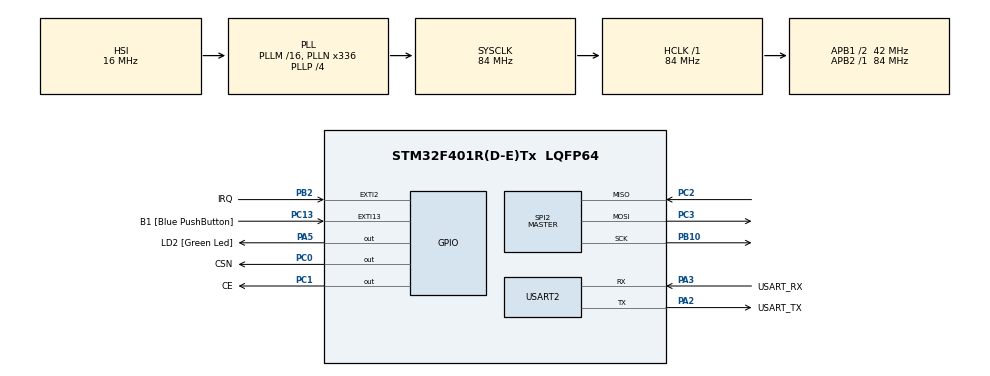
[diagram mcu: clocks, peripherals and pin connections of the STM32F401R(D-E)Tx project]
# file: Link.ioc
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Mcu.Family=STM32F4
Mcu.Name=STM32F401R(D-E)Tx
Mcu.Package=LQFP64
NVIC.PriorityGroup=NVIC_PRIORITYGROUP_0
PA13.GPIO_Label=TMS
PA13.Mode=Serial_Wire
PA13.Signal=SYS_JTMS-SWDIO
PA14.GPIO_Label=TCK
PA14.Mode=Serial_Wire
PA14.Signal=SYS_JTCK-SWCLK
PA2.GPIO_Label=USART_TX
PA2.GPIO_Mode=GPIO_MODE_AF_PP
PA2.GPIO_PuPd=GPIO_NOPULL
PA2.GPIO_Speed=GPIO_SPEED_FREQ_LOW
PA2.Mode=Asynchronous
PA2.Signal=USART2_TX
PA3.GPIO_Label=USART_RX
PA3.GPIO_Mode=GPIO_MODE_AF_PP
PA3.GPIO_PuPd=GPIO_NOPULL
PA3.GPIO_Speed=GPIO_SPEED_FREQ_LOW
PA3.Mode=Asynchronous
PA3.Signal=USART2_RX
PA5.GPIO_Label=LD2 [Green Led]
PA5.GPIO_Mode=GPIO_MODE_OUTPUT_PP
PA5.GPIO_PuPd=GPIO_NOPULL
PA5.GPIO_Speed=GPIO_SPEED_FREQ_LOW
PA5.Signal=GPIO_Output
PB10.Mode=Full_Duplex_Master
PB10.Signal=SPI2_SCK
PB2.GPIO_Label=IRQ
PB2.GPIO_ModeDefaultEXTI=GPIO_MODE_IT_FALLING
PB2.Signal=GPXTI2
PB3.GPIO_Label=SWO
PB3.Signal=SYS_JTDO-SWO
PC0.GPIO_Label=CSN
PC0.GPIO_Speed=GPIO_SPEED_FREQ_MEDIUM
PC0.Signal=GPIO_Output
PC1.GPIO_Label=CE
PC1.GPIO_Speed=GPIO_SPEED_FREQ_MEDIUM
PC1.Signal=GPIO_Output
PC13-ANTI_TAMP.GPIO_Label=B1 [Blue PushButton]
PC13-ANTI_TAMP.GPIO_ModeDefaultEXTI=GPIO_MODE_IT_FALLING
PC13-ANTI_TAMP.GPIO_PuPd=GPIO_NOPULL
PC13-ANTI_TAMP.Signal=GPXTI13
PC14-OSC32_IN.Mode=LSE-External-Oscillator
PC14-OSC32_IN.Signal=RCC_OSC32_IN
PC15-OSC32_OUT.Mode=LSE-External-Oscillator
PC15-OSC32_OUT.Signal=RCC_OSC32_OUT
PC2.Mode=Full_Duplex_Master
PC2.Signal=SPI2_MISO
PC3.Mode=Full_Duplex_Master
PC3.Signal=SPI2_MOSI
PH0\ -\ OSC_IN.Mode=HSE-External-Clock-Source
PH0\ -\ OSC_IN.Signal=RCC_OSC_IN
PH1\ -\ OSC_OUT.Mode=HSE-External-Clock-Source
PH1\ -\ OSC_OUT.Signal=RCC_OSC_OUT
ProjectManager.HeapSize=0x200
ProjectManager.StackSize=0x400
ProjectManager.TargetToolchain=EWARM V8.32
RCC.48MHZClocksFreq_Value=48000000
RCC.AHBFreq_Value=84000000
RCC.APB1CLKDivider=RCC_HCLK_DIV2
RCC.APB1Freq_Value=42000000
RCC.APB1TimFreq_Value=84000000
RCC.APB2Freq_Value=84000000
RCC.APB2TimFreq_Value=84000000
RCC.CortexFreq_Value=84000000
RCC.HCLKFreq_Value=84000000
RCC.HSE_VALUE=8000000
RCC.HSI_VALUE=16000000
RCC.PLLN=336
RCC.PLLP=RCC_PLLP_DIV4
RCC.PLLQ=7
RCC.SYSCLKFreq_VALUE=84000000
RCC.SYSCLKSource=RCC_SYSCLKSOURCE_PLLCLK
RCC.VCOOutputFreq_Value=336000000
SPI2.BaudRatePrescaler=SPI_BAUDRATEPRESCALER_32
SPI2.Direction=SPI_DIRECTION_2LINES
SPI2.Mode=SPI_MODE_MASTER
SPI2.VirtualType=VM_MASTER
USART2.VirtualMode=VM_ASYNC
board=NUCLEO-F401RE

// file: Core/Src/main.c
/* USER CODE BEGIN Header */
/**
  ******************************************************************************
  * @file           : main.c
  * @brief          : Main program body
  ******************************************************************************
  * @attention
  *
  * <h2><center>&copy; Copyright (c) 2021 STMicroelectronics.
  * All rights reserved.</center></h2>
  *
  * This software component is licensed by ST under BSD 3-Clause license,
  * the "License"; You may not use this file except in compliance with the
  * License. You may obtain a copy of the License at:
  *                        opensource.org/licenses/BSD-3-Clause
  *
  ******************************************************************************
  */
/* USER CODE END Header */
#include "main.h"
#include "spi.h"
#include "usart.h"
#include "gpio.h"

/* USER CODE BEGIN Includes */
#include "nrf24l01.h"
/* USER CODE END Includes */

/* USER CODE BEGIN PV */
 uint8_t res;
/* USER CODE END PV */

void SystemClock_Config(void);

/* USER CODE BEGIN 0 */
void HAL_GPIO_EXTI_Callback(uint16_t GPIO_Pin)
{
	if(GPIO_Pin	== IRQ_Pin)
	{
		HAL_UART_Transmit(&huart2, (uint8_t*)"IRQ\n", strlen("IRQ\n"), 1000);
	}
}
/* USER CODE END 0 */

int main(void)
{

  /* MCU Configuration--------------------------------------------------------*/

  /* Reset of all peripherals, Initializes the Flash interface and the Systick. */
  HAL_Init();

  /* Configure the system clock */
  SystemClock_Config();

  /* Initialize all configured peripherals */
  MX_GPIO_Init();
  MX_USART2_UART_Init();
  MX_SPI2_Init();
  /* USER CODE BEGIN 2 */
  //const uint64_t pipe0 = 0x787878787878;
  const uint64_t pipe1 = 0xE8E8F0F0E2LL; // адрес первой трубы
  //const uint64_t pipe2 = 0xE8E8F0F0A2LL;
  //const uint64_t pipe3 = 0xE8E8F0F0D1LL;
  //const uint64_t pipe4 = 0xE8E8F0F0C3LL;
  //const uint64_t pipe5 = 0xE8E8F0F0E7LL;

  res = isChipConnected(); // проверяет подключён ли модуль к SPI

  char str[64] = {0,};
  snprintf(str, 64, "Connected: %s\n", 1 ? "OK" : "NOT OK");
  HAL_UART_Transmit(&huart2, (uint8_t*)str, strlen(str), 1000);

  res = NRF_Init(); // инициализация

  snprintf(str, 64, "Init: %s\n", res > 0 && res < 255 ? "OK" : "NOT OK");
  HAL_UART_Transmit(&huart2, (uint8_t*)str, strlen(str), 1000);

  ////////////// SET ////////////////
  enableAckPayload();
  //setAutoAck(false);
  //setPayloadSize(3);
  setChannel(19);
  #if defined PTX
  openWritingPipe(pipe1);
  #endif
  #if defined PRX
  openReadingPipe(1, pipe1);
  startListening();
  #endif

  ///////////////////////////////////

  ////////////////////////// Вывод всяких статусов, для работы не нужно /////////////////////////////
  uint8_t status = get_status();
  snprintf(str, 64, "get_status: 0x%02x\n", status);
  HAL_UART_Transmit(&huart2, (uint8_t*)str, strlen(str), 1000);

  status = getPALevel();
  snprintf(str, 64, "getPALevel: 0x%02x  ", status);
  HAL_UART_Transmit(&huart2, (uint8_t*)str, strlen(str), 1000);

  if(status == 0x00)
  {
	  HAL_UART_Transmit(&huart2, (uint8_t*)"RF24_PA_MIN\n", strlen("RF24_PA_MIN\n"), 1000);
  }
  else if(status == 0x01)
  {
	  HAL_UART_Transmit(&huart2, (uint8_t*)"RF24_PA_LOW\n", strlen("RF24_PA_LOW\n"), 1000);
  }
  else if(status == 0x02)
  {
	  HAL_UART_Transmit(&huart2, (uint8_t*)"RF24_PA_HIGH\n", strlen("RF24_PA_HIGH\n"), 1000);
  }
  else if(status == 0x03)
  {
	  HAL_UART_Transmit(&huart2, (uint8_t*)"RF24_PA_MAX\n", strlen("RF24_PA_MAX\n"), 1000);
  }

  status = getChannel();
  snprintf(str, 64, "getChannel: 0x%02x № %d\n", status, status);
  HAL_UART_Transmit(&huart2, (uint8_t*)str, strlen(str), 1000);

  status = getDataRate();
  snprintf(str, 64, "getDataRate: 0x%02x  ", status);
  HAL_UART_Transmit(&huart2, (uint8_t*)str, strlen(str), 1000);

  if(status == 0x02)
  {
	  HAL_UART_Transmit(&huart2, (uint8_t*)"RF24_250KBPS\n", strlen("RF24_250KBPS\n"), 1000);
  }
  else if(status == 0x01)
  {
	  HAL_UART_Transmit(&huart2, (uint8_t*)"RF24_2MBPS\n", strlen("RF24_2MBPS\n"), 1000);
  }
  else
  {
	  HAL_UART_Transmit(&huart2, (uint8_t*)"RF24_1MBPS\n", strlen("RF24_1MBPS\n"), 1000);
  }

  status = getPayloadSize();
  snprintf(str, 64, "getPayloadSize: %d\n", status);
  HAL_UART_Transmit(&huart2, (uint8_t*)str, strlen(str), 1000);

  status = getCRCLength();
  snprintf(str, 64, "getCRCLength: 0x%02x  ", status);
  HAL_UART_Transmit(&huart2, (uint8_t*)str, strlen(str), 1000);

  if(status == 0x00)
  {
	  HAL_UART_Transmit(&huart2, (uint8_t*)"RF24_CRC_DISABLED\n", strlen("RF24_CRC_DISABLED\n"), 1000);
  }
  else if(status == 0x01)
  {
	  HAL_UART_Transmit(&huart2, (uint8_t*)"RF24_CRC_8\n", strlen("RF24_CRC_8\n"), 1000);
  }
  else if(status == 0x02)
  {
	  HAL_UART_Transmit(&huart2, (uint8_t*)"RF24_CRC_16\n", strlen("RF24_CRC_16\n"), 1000);
  }
  /////////////////////////////////////////////////////////////////////////////////////////////////////

  maskIRQ(true, true, true); // маскируем прерывания

  /* USER CODE END 2 */

  /* Infinite loop */
  /* USER CODE BEGIN WHILE */
  while (1)
  {
	  ///////////////////////////////////// ПРИЁМ /////////////////////////////////////////////

	#if defined PRX
	uint8_t nrf_data[32] = {0,}; // буфер указываем максимального размера
	//static uint8_t remsg = 0;
	char remsg[] = "Hello Zhan!";
	uint8_t pipe_num = 0;

	if(available(&pipe_num)) // проверяем пришло ли что-то
	{
		//remsg++;

		writeAckPayload(pipe_num, &remsg, sizeof(remsg)); // отправляем полезную нагрузку вместе с подтверждением

		if(pipe_num == 0) // проверяем в какую трубу пришли данные
		{
			HAL_UART_Transmit(&huart2, (uint8_t*)"pipe 0\n", strlen("pipe 0\n"), 1000);
		}

		else if(pipe_num == 1)
		{
			HAL_UART_Transmit(&huart2, (uint8_t*)"pipe 1\n", strlen("pipe 1\n"), 1000);

			uint8_t count = getDynamicPayloadSize(); // смотрим сколько байт прилетело

			read(&nrf_data, count); // Читаем данные в массив nrf_data и указываем сколько байт читать
                        //writeAckPayload(pipe_num, &nrf_data[0], sizeof(&nrf_data[0])); // отправляем полезную нагрузку вместе с подтверждением
			if(nrf_data[0] == 77 && nrf_data[1] == 86 && nrf_data[2] == 97) // проверяем правильность данных
			{
				HAL_GPIO_TogglePin(LD2_GPIO_Port, LD2_Pin);
				snprintf(str, 64, "data[0]=%d data[1]=%d data[2]=%d\n", nrf_data[0], nrf_data[1], nrf_data[2]);
				HAL_UART_Transmit(&huart2, (uint8_t*)str, strlen(str), 1000);
			}
		}

		else if(pipe_num == 2)
		{
			HAL_UART_Transmit(&huart2, (uint8_t*)"pipe 2\n", strlen("pipe 2\n"), 1000);
		}

		else
		{
			while(availableMy()) // если данные придут от неуказанной трубы, то попадут сюда
			{
				read(&nrf_data, sizeof(nrf_data));
				HAL_UART_Transmit(&huart2, (uint8_t*)"Unknown pipe\n", strlen("Unknown pipe\n"), 1000);
			}
		}
	}
	#endif

	#if defined PTX
	uint8_t nrf_data[32] = {0,};
	nrf_data[0] = 77;
	nrf_data[1] = 86;
	nrf_data[2] = 97;
	//uint8_t remsg = 0; // переменная для приёма байта пришедшего вместе с ответом
	char remsg[30] = {0,};
	if(write(&nrf_data, strlen((const char*)nrf_data))) // отправляем данные
	  {
		if(isAckPayloadAvailable()) // проверяем пришло ли что-то вместе с ответом
		{
			read(&remsg, sizeof(remsg));
			HAL_GPIO_TogglePin(LD2_GPIO_Port, LD2_Pin);
			snprintf(str, 64, "Ack: %s\n", remsg);
			HAL_UART_Transmit(&huart2, (uint8_t*)str, strlen(str), 1000);
		}
	  }
	else HAL_UART_Transmit(&huart2, (uint8_t*)"Not write\n", strlen("Not write\n"), 1000);

	HAL_Delay(100);
	#endif

    /* USER CODE END WHILE */

  }
}

void SystemClock_Config(void)
{
  RCC_OscInitTypeDef RCC_OscInitStruct = {0};
  RCC_ClkInitTypeDef RCC_ClkInitStruct = {0};

  /** Configure the main internal regulator output voltage
  */
  __HAL_RCC_PWR_CLK_ENABLE();
  __HAL_PWR_VOLTAGESCALING_CONFIG(PWR_REGULATOR_VOLTAGE_SCALE2);
  /** Initializes the RCC Oscillators according to the specified parameters
  * in the RCC_OscInitTypeDef structure.
  */
  RCC_OscInitStruct.OscillatorType = RCC_OSCILLATORTYPE_HSI;
  RCC_OscInitStruct.HSIState = RCC_HSI_ON;
  RCC_OscInitStruct.HSICalibrationValue = RCC_HSICALIBRATION_DEFAULT;
  RCC_OscInitStruct.PLL.PLLState = RCC_PLL_ON;
  RCC_OscInitStruct.PLL.PLLSource = RCC_PLLSOURCE_HSI;
  RCC_OscInitStruct.PLL.PLLM = 16;
  RCC_OscInitStruct.PLL.PLLN = 336;
  RCC_OscInitStruct.PLL.PLLP = RCC_PLLP_DIV4;
  RCC_OscInitStruct.PLL.PLLQ = 7;
  if (HAL_RCC_OscConfig(&RCC_OscInitStruct) != HAL_OK)
  {
    Error_Handler();
  }
  /** Initializes the CPU, AHB and APB buses clocks
  */
  RCC_ClkInitStruct.ClockType = RCC_CLOCKTYPE_HCLK|RCC_CLOCKTYPE_SYSCLK
                              |RCC_CLOCKTYPE_PCLK1|RCC_CLOCKTYPE_PCLK2;
  RCC_ClkInitStruct.SYSCLKSource = RCC_SYSCLKSOURCE_PLLCLK;
  RCC_ClkInitStruct.AHBCLKDivider = RCC_SYSCLK_DIV1;
  RCC_ClkInitStruct.APB1CLKDivider = RCC_HCLK_DIV2;
  RCC_ClkInitStruct.APB2CLKDivider = RCC_HCLK_DIV1;

  if (HAL_RCC_ClockConfig(&RCC_ClkInitStruct, FLASH_LATENCY_2) != HAL_OK)
  {
    Error_Handler();
  }
}

void Error_Handler(void)
{
  __disable_irq();
  while (1)
  {
  }
}

/************************ (C) COPYRIGHT STMicroelectronics *****END OF FILE****/
